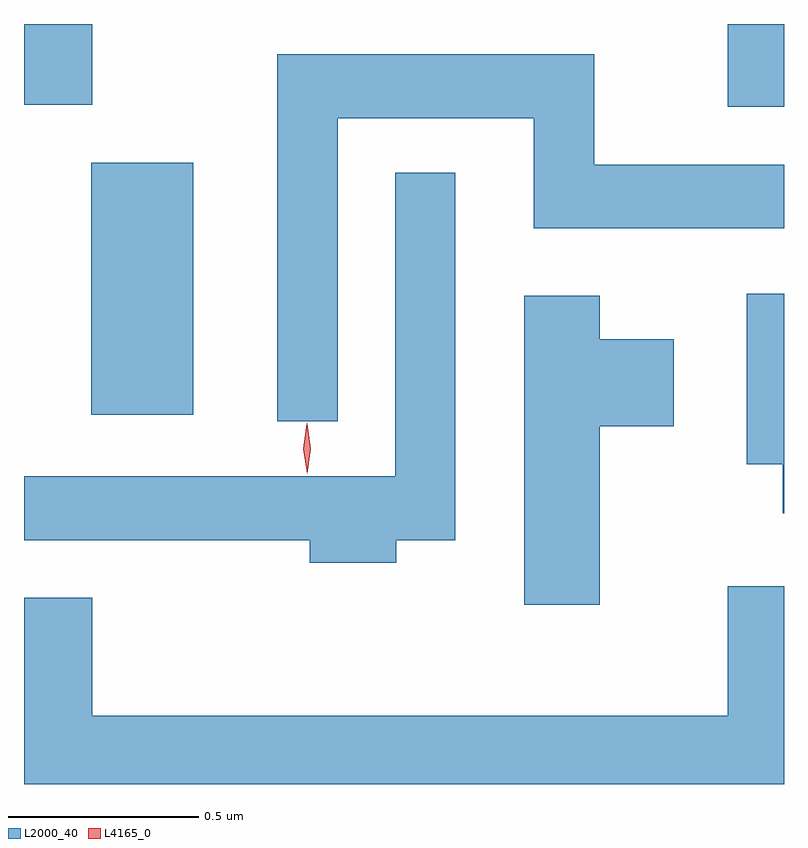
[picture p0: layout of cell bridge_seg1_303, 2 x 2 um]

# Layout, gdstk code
import gdstk
lib = gdstk.Library(unit=1e-6, precision=1e-09)
def R(c, l, rs):  # rectangles x0, y0, x1, y1
    for r in rs: c.add(gdstk.rectangle(r[:2], r[2:], *l))
def P(c, l, *ps):  # polygons
    for p in ps: c.add(gdstk.Polygon(p, *l))
L2000_40 = (2000, 40)
L4165_0 = (4165, 0)

bridge_seg1_303 = lib.new_cell('bridge_seg1_303')
R(bridge_seg1_303, L2000_40, [(876.456,873.996,876.724,874.659), (878.131,874.806,878.279,875.024), (876.279,874.811,876.459,875.024)])
P(bridge_seg1_303, L2000_40, [(877.104,874.776),(877.621,874.776),(877.621,874.486),(878.279,874.486),(878.279,874.654),(877.779,874.654),(877.779,874.944),(876.946,874.944),(876.946,873.978),(877.104,873.978)],
  [(877.259,873.666),(877.414,873.666),(877.414,874.633),(877.256,874.633),(877.256,873.834),(876.279,873.834),(876.279,873.666),(877.031,873.666),(877.031,873.606),(877.259,873.606)],
  [(878.279,874.314),(878.181,874.314),(878.181,873.866),(878.276,873.866),(878.276,873.736),(878.279,873.736)],
  [(877.794,873.966),(877.989,873.966),(877.989,874.194),(877.794,874.194),(877.794,874.309),(877.596,874.309),(877.596,873.496),(877.794,873.496)],
  [(878.279,873.544),(878.131,873.544),(878.131,873.204),(876.459,873.204),(876.459,873.514),(876.279,873.514),(876.279,873.024),(878.279,873.024)])
P(bridge_seg1_303, L4165_0, [(877.024,873.84),(877.024,873.84),(877.014,873.906),(877.023,873.972),(877.024,873.973),(877.024,873.972),(877.034,873.906),(877.025,873.84)])

lib.write_gds('bridge_seg1_303.gds')
